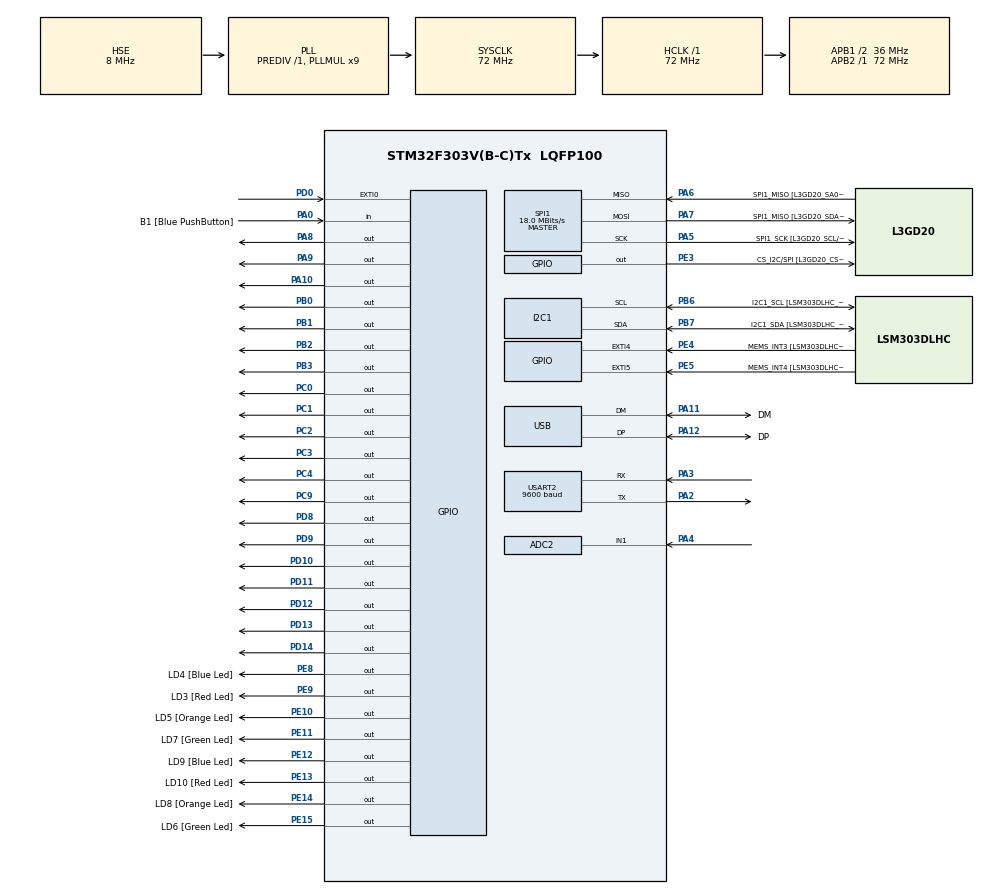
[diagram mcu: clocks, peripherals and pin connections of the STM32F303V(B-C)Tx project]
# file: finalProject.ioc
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ADC2.Channel-4\#ChannelRegularConversion=ADC_CHANNEL_1
ADC2.NbrOfConversionFlag=1
ADC2.Offset-4\#ChannelRegularConversion=0
ADC2.OffsetNumber-4\#ChannelRegularConversion=ADC_OFFSET_NONE
ADC2.Rank-4\#ChannelRegularConversion=1
ADC2.Resolution=ADC_RESOLUTION_6B
ADC2.SamplingTime-4\#ChannelRegularConversion=ADC_SAMPLETIME_601CYCLES_5
I2C1.Timing-I2C=0x2000090E
Mcu.Family=STM32F3
Mcu.Name=STM32F303V(B-C)Tx
Mcu.Package=LQFP100
NVIC.ADC1_2_IRQn=true\:3\:0\:true\:false\:true\:true
NVIC.EXTI0_IRQn=true\:1\:0\:true\:false\:true\:true
NVIC.PriorityGroup=NVIC_PRIORITYGROUP_2
NVIC.TIM2_IRQn=true\:2\:0\:true\:false\:true\:true
NVIC.TIM3_IRQn=true\:2\:0\:true\:false\:true\:true
NVIC.USART2_IRQn=true\:1\:0\:true\:false\:true\:true
PA0.GPIO_Label=B1 [Blue PushButton]
PA0.Signal=GPIO_Input
PA10.Signal=GPIO_Output
PA11.GPIO_Label=DM
PA11.Mode=Device
PA11.Signal=USB_DM
PA12.GPIO_Label=DP
PA12.Mode=Device
PA12.Signal=USB_DP
PA13.GPIO_Label=SWDIO
PA13.Mode=Serial_Wire
PA13.Signal=SYS_JTMS-SWDIO
PA14.GPIO_Label=SWCLK
PA14.Mode=Serial_Wire
PA14.Signal=SYS_JTCK-SWCLK
PA2.Mode=Asynchronous
PA2.Signal=USART2_TX
PA3.Mode=Asynchronous
PA3.Signal=USART2_RX
PA4.Mode=IN1-Single-Ended
PA4.Signal=ADC2_IN1
PA5.GPIO_Label=SPI1_SCK [L3GD20_SCL/SPC]
PA5.Mode=Full_Duplex_Master
PA5.Signal=SPI1_SCK
PA6.GPIO_Label=SPI1_MISO [L3GD20_SA0/SDO]
PA6.Mode=Full_Duplex_Master
PA6.Signal=SPI1_MISO
PA7.GPIO_Label=SPI1_MISO [L3GD20_SDA/SDI/SDO]
PA7.Mode=Full_Duplex_Master
PA7.Signal=SPI1_MOSI
PA8.Signal=GPIO_Output
PA9.Signal=GPIO_Output
PB0.Signal=GPIO_Output
PB1.Signal=GPIO_Output
PB2.Signal=GPIO_Output
PB3.Signal=GPIO_Output
PB6.GPIO_Label=I2C1_SCL [LSM303DLHC_SCL]
PB6.Mode=I2C
PB6.Signal=I2C1_SCL
PB7.GPIO_Label=I2C1_SDA [LSM303DLHC_SDA]
PB7.Mode=I2C
PB7.Signal=I2C1_SDA
PC0.Signal=GPIO_Output
PC1.Signal=GPIO_Output
PC14-OSC32_IN.GPIO_Label=OSC32_IN
PC14-OSC32_IN.Signal=RCC_OSC32_IN
PC15-OSC32_OUT.GPIO_Label=OSC32_OUT
PC15-OSC32_OUT.Signal=RCC_OSC32_OUT
PC2.Signal=GPIO_Output
PC3.Signal=GPIO_Output
PC4.Signal=GPIO_Output
PC9.Signal=GPIO_Output
PD0.GPIO_PuPd=GPIO_PULLDOWN
PD0.Signal=GPXTI0
PD10.Signal=GPIO_Output
PD11.Signal=GPIO_Output
PD12.Signal=GPIO_Output
PD13.Signal=GPIO_Output
PD14.Signal=GPIO_Output
PD8.Signal=GPIO_Output
PD9.Signal=GPIO_Output
PE10.GPIO_Label=LD5 [Orange Led]
PE10.Signal=GPIO_Output
PE11.GPIO_Label=LD7 [Green Led]
PE11.Signal=GPIO_Output
PE12.GPIO_Label=LD9 [Blue Led]
PE12.Signal=GPIO_Output
PE13.GPIO_Label=LD10 [Red Led]
PE13.Signal=GPIO_Output
PE14.GPIO_Label=LD8 [Orange Led]
PE14.Signal=GPIO_Output
PE15.GPIO_Label=LD6 [Green Led]
PE15.Signal=GPIO_Output
PE3.GPIO_Label=CS_I2C/SPI [L3GD20_CS_I2C/SPI]
PE3.Signal=GPIO_Output
PE4.GPIO_Label=MEMS_INT3 [LSM303DLHC_INT1]
PE4.GPIO_ModeDefaultEXTI=GPIO_MODE_EVT_RISING
PE4.Signal=GPXTI4
PE5.GPIO_Label=MEMS_INT4 [LSM303DLHC_INT2]
PE5.GPIO_ModeDefaultEXTI=GPIO_MODE_EVT_RISING
PE5.Signal=GPXTI5
PE8.GPIO_Label=LD4 [Blue Led]
PE8.Signal=GPIO_Output
PE9.GPIO_Label=LD3 [Red Led]
PE9.Signal=GPIO_Output
PF0-OSC_IN.GPIO_Label=OSC_IN
PF0-OSC_IN.Mode=HSE-External-Clock-Source
PF0-OSC_IN.Signal=RCC_OSC_IN
PF1-OSC_OUT.GPIO_Label=OSC_OUT
PF1-OSC_OUT.Signal=RCC_OSC_OUT
ProjectManager.HeapSize=0x200
ProjectManager.StackSize=0x400
ProjectManager.TargetToolchain=MDK-ARM V5
RCC.AHBFreq_Value=72000000
RCC.APB1CLKDivider=RCC_HCLK_DIV2
RCC.APB1Freq_Value=36000000
RCC.APB1TimFreq_Value=72000000
RCC.APB2Freq_Value=72000000
RCC.APB2TimFreq_Value=72000000
RCC.CortexFreq_Value=72000000
RCC.HCLKFreq_Value=72000000
RCC.HSE_VALUE=8000000
RCC.HSI_VALUE=8000000
RCC.LSE_VALUE=32768
RCC.PLLMUL=RCC_PLL_MUL9
RCC.PRESCALERUSB=RCC_USBCLKSOURCE_PLL_DIV1_5
RCC.SYSCLKFreq_VALUE=72000000
RCC.SYSCLKSourceVirtual=RCC_SYSCLKSOURCE_PLLCLK
RCC.USBFreq_Value=48000000
SPI1.BaudRatePrescaler=SPI_BAUDRATEPRESCALER_4
SPI1.BaudRatePrescaler-Full_Duplex_Master=SPI_BAUDRATEPRESCALER_2
SPI1.CalculateBaudRate=18.0 MBits/s
SPI1.CalculateBaudRate-Full_Duplex_Master=24.0 MBits/s
SPI1.Direction=SPI_DIRECTION_2LINES
SPI1.Mode=SPI_MODE_MASTER
SPI1.Mode-Full_Duplex_Master=SPI_MODE_MASTER
SPI1.VirtualType=VM_MASTER
TIM2.Period=1000
TIM2.Prescaler=7199
TIM3.Period=20
TIM3.Prescaler=7199
USART2.BaudRate=9600
USART2.VirtualMode-Asynchronous=VM_ASYNC
VP_TIM2_VS_ClockSourceINT.Mode=Internal
VP_TIM3_VS_ClockSourceINT.Mode=Internal
board=STM32F3DISCOVERY

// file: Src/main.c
/**
  ******************************************************************************
  * @file           : main.c
  * @brief          : Main program body
  ******************************************************************************
  ** This notice applies to any and all portions of this file
  * that are not between comment pairs USER CODE BEGIN and
  * USER CODE END. Other portions of this file, whether
  * inserted by the user or by software development tools
  * are owned by their respective copyright owners.
  *
  * COPYRIGHT(c) 2020 STMicroelectronics
  *
  * Redistribution and use in source and binary forms, with or without modification,
  * are permitted provided that the following conditions are met:
  *   1. Redistributions of source code must retain the above copyright notice,
  *      this list of conditions and the following disclaimer.
  *   2. Redistributions in binary form must reproduce the above copyright notice,
  *      this list of conditions and the following disclaimer in the documentation
  *      and/or other materials provided with the distribution.
  *   3. Neither the name of STMicroelectronics nor the names of its contributors
  *      may be used to endorse or promote products derived from this software
  *      without specific prior written permission.
  *
  * THIS SOFTWARE IS PROVIDED BY THE COPYRIGHT HOLDERS AND CONTRIBUTORS "AS IS"
  * AND ANY EXPRESS OR IMPLIED WARRANTIES, INCLUDING, BUT NOT LIMITED TO, THE
  * IMPLIED WARRANTIES OF MERCHANTABILITY AND FITNESS FOR A PARTICULAR PURPOSE ARE
  * DISCLAIMED. IN NO EVENT SHALL THE COPYRIGHT HOLDER OR CONTRIBUTORS BE LIABLE
  * FOR ANY DIRECT, INDIRECT, INCIDENTAL, SPECIAL, EXEMPLARY, OR CONSEQUENTIAL
  * DAMAGES (INCLUDING, BUT NOT LIMITED TO, PROCUREMENT OF SUBSTITUTE GOODS OR
  * SERVICES; LOSS OF USE, DATA, OR PROFITS; OR BUSINESS INTERRUPTION) HOWEVER
  * CAUSED AND ON ANY THEORY OF LIABILITY, WHETHER IN CONTRACT, STRICT LIABILITY,
  * OR TORT (INCLUDING NEGLIGENCE OR OTHERWISE) ARISING IN ANY WAY OUT OF THE USE
  * OF THIS SOFTWARE, EVEN IF ADVISED OF THE POSSIBILITY OF SUCH DAMAGE.
  *
  ******************************************************************************
  */
#include "main.h"
#include "stm32f3xx_hal.h"

/* USER CODE BEGIN Includes */
# include "LiquidCrystal.h"
#include <stdlib.h>
/* USER CODE END Includes */

ADC_HandleTypeDef hadc2;

I2C_HandleTypeDef hi2c1;

SPI_HandleTypeDef hspi1;

TIM_HandleTypeDef htim2;
TIM_HandleTypeDef htim3;

UART_HandleTypeDef huart2;

PCD_HandleTypeDef hpcd_USB_FS;

/* USER CODE BEGIN PV */
/* Private variables ---------------------------------------------------------*/
unsigned char data[1];
int map[8][20];
int length_snake = 3;

int move = 4 ;
int head_i = 0;
int head_j = 2;
int end_i = 0;
int end_j = 0;
int apple_i ;
int apple_j ;

typedef unsigned char byte;

byte snake_snake[8] ={
  0x1F,
  0x1F,
  0x1F,
  0x1F,
  0x1F,
  0x1F,
  0x1F,
  0x1F
};

byte _snake[8] ={
	0x00,
  0x00,
  0x00,
  0x00,
  0x1F,
  0x1F,
  0x1F,
  0x1F
};
byte snake_[8] ={
 0x1F,
  0x1F,
  0x1F,
  0x1F,
  0x00,
  0x00,
  0x00,
  0x00
};
byte snake_app[8] ={
0x1F,
  0x1F,
  0x1F,
  0x1F,
  0x0E,
  0x0E,
  0x04,
  0x0A
};
byte app_snake[8] ={
  0x0A,
  0x04,
  0x0E,
  0x0E,
  0x1F,
  0x1F,
  0x1F,
  0x1F
};
byte app_[8] ={
	0x0A,
  0x04,
  0x0E,
  0x0E,
  0x00,
  0x00,
  0x00,
  0x00
};
byte _app[8] ={
 0x00,
  0x00,
  0x00,
  0x00,
  0x0E,
  0x0E,
  0x04,
  0x0A
};
byte app_app[8] ={
  0x00,
  0x00,
  0x0E,
  0x0E,
  0x0E,
  0x0E,
  0x00,
  0x00
};

void start_game(){
	setCursor(0,0);
	print("start game");
	setCursor(0,1);
	print("load previous game");
}

/* USER CODE END PV */

void SystemClock_Config(void);
static void MX_GPIO_Init(void);
static void MX_I2C1_Init(void);
static void MX_SPI1_Init(void);
static void MX_USB_PCD_Init(void);
static void MX_TIM2_Init(void);
static void MX_USART2_UART_Init(void);
static void MX_ADC2_Init(void);
static void MX_TIM3_Init(void);

/* USER CODE BEGIN PFP */
/* Private function prototypes -----------------------------------------------*/

/* USER CODE END PFP */

int main(void)
{

  /* MCU Configuration----------------------------------------------------------*/

  /* Reset of all peripherals, Initializes the Flash interface and the Systick. */
  HAL_Init();

  /* Configure the system clock */
  SystemClock_Config();

  /* Initialize all configured peripherals */
  MX_GPIO_Init();
  MX_I2C1_Init();
  MX_SPI1_Init();
  MX_USB_PCD_Init();
  MX_TIM2_Init();
  MX_USART2_UART_Init();
  MX_ADC2_Init();
  MX_TIM3_Init();
  /* USER CODE BEGIN 2 */
	HAL_UART_Receive_IT(&huart2,data,sizeof(data));
	HAL_GPIO_WritePin(GPIOC,GPIO_PIN_9,GPIO_PIN_SET);
	HAL_GPIO_WritePin(GPIOA,GPIO_PIN_8,GPIO_PIN_SET);
	HAL_GPIO_WritePin(GPIOA,GPIO_PIN_9,GPIO_PIN_SET);
	HAL_GPIO_WritePin(GPIOA,GPIO_PIN_10,GPIO_PIN_SET);
	LiquidCrystal(GPIOD,GPIO_PIN_8,GPIO_PIN_9,GPIO_PIN_10,GPIO_PIN_11,GPIO_PIN_12,GPIO_PIN_13,GPIO_PIN_14);
	begin(20,4);

	createChar(0,snake_snake);
	createChar(1,_snake);
	createChar(2,snake_);
	createChar(3,snake_app);
	createChar(4,app_snake);
	createChar(5,app_);
	createChar(6,_app);
	createChar(7,app_app);

	start_game();

  /* USER CODE END 2 */

  /* Infinite loop */
  while (1)
  {

  }

}

void SystemClock_Config(void)
{

  RCC_OscInitTypeDef RCC_OscInitStruct;
  RCC_ClkInitTypeDef RCC_ClkInitStruct;
  RCC_PeriphCLKInitTypeDef PeriphClkInit;

    /**Initializes the CPU, AHB and APB busses clocks
    */
  RCC_OscInitStruct.OscillatorType = RCC_OSCILLATORTYPE_HSI|RCC_OSCILLATORTYPE_HSE;
  RCC_OscInitStruct.HSEState = RCC_HSE_BYPASS;
  RCC_OscInitStruct.HSEPredivValue = RCC_HSE_PREDIV_DIV1;
  RCC_OscInitStruct.HSIState = RCC_HSI_ON;
  RCC_OscInitStruct.HSICalibrationValue = 16;
  RCC_OscInitStruct.PLL.PLLState = RCC_PLL_ON;
  RCC_OscInitStruct.PLL.PLLSource = RCC_PLLSOURCE_HSE;
  RCC_OscInitStruct.PLL.PLLMUL = RCC_PLL_MUL9;
  if (HAL_RCC_OscConfig(&RCC_OscInitStruct) != HAL_OK)
  {
    _Error_Handler(__FILE__, __LINE__);
  }

    /**Initializes the CPU, AHB and APB busses clocks
    */
  RCC_ClkInitStruct.ClockType = RCC_CLOCKTYPE_HCLK|RCC_CLOCKTYPE_SYSCLK
                              |RCC_CLOCKTYPE_PCLK1|RCC_CLOCKTYPE_PCLK2;
  RCC_ClkInitStruct.SYSCLKSource = RCC_SYSCLKSOURCE_PLLCLK;
  RCC_ClkInitStruct.AHBCLKDivider = RCC_SYSCLK_DIV1;
  RCC_ClkInitStruct.APB1CLKDivider = RCC_HCLK_DIV2;
  RCC_ClkInitStruct.APB2CLKDivider = RCC_HCLK_DIV1;

  if (HAL_RCC_ClockConfig(&RCC_ClkInitStruct, FLASH_LATENCY_2) != HAL_OK)
  {
    _Error_Handler(__FILE__, __LINE__);
  }

  PeriphClkInit.PeriphClockSelection = RCC_PERIPHCLK_USB|RCC_PERIPHCLK_USART2
                              |RCC_PERIPHCLK_I2C1|RCC_PERIPHCLK_ADC12;
  PeriphClkInit.Usart2ClockSelection = RCC_USART2CLKSOURCE_PCLK1;
  PeriphClkInit.Adc12ClockSelection = RCC_ADC12PLLCLK_DIV1;
  PeriphClkInit.I2c1ClockSelection = RCC_I2C1CLKSOURCE_HSI;
  PeriphClkInit.USBClockSelection = RCC_USBCLKSOURCE_PLL_DIV1_5;
  if (HAL_RCCEx_PeriphCLKConfig(&PeriphClkInit) != HAL_OK)
  {
    _Error_Handler(__FILE__, __LINE__);
  }

    /**Configure the Systick interrupt time
    */
  HAL_SYSTICK_Config(HAL_RCC_GetHCLKFreq()/1000);

    /**Configure the Systick
    */
  HAL_SYSTICK_CLKSourceConfig(SYSTICK_CLKSOURCE_HCLK);

  /* SysTick_IRQn interrupt configuration */
  HAL_NVIC_SetPriority(SysTick_IRQn, 0, 0);
}

/* ADC2 init function */
static void MX_ADC2_Init(void)
{

  ADC_ChannelConfTypeDef sConfig;

    /**Common config
    */
  hadc2.Instance = ADC2;
  hadc2.Init.ClockPrescaler = ADC_CLOCK_ASYNC_DIV1;
  hadc2.Init.Resolution = ADC_RESOLUTION_6B;
  hadc2.Init.ScanConvMode = ADC_SCAN_DISABLE;
  hadc2.Init.ContinuousConvMode = DISABLE;
  hadc2.Init.DiscontinuousConvMode = DISABLE;
  hadc2.Init.ExternalTrigConvEdge = ADC_EXTERNALTRIGCONVEDGE_NONE;
  hadc2.Init.ExternalTrigConv = ADC_SOFTWARE_START;
  hadc2.Init.DataAlign = ADC_DATAALIGN_RIGHT;
  hadc2.Init.NbrOfConversion = 1;
  hadc2.Init.DMAContinuousRequests = DISABLE;
  hadc2.Init.EOCSelection = ADC_EOC_SINGLE_CONV;
  hadc2.Init.LowPowerAutoWait = DISABLE;
  hadc2.Init.Overrun = ADC_OVR_DATA_OVERWRITTEN;
  if (HAL_ADC_Init(&hadc2) != HAL_OK)
  {
    _Error_Handler(__FILE__, __LINE__);
  }

    /**Configure Regular Channel
    */
  sConfig.Channel = ADC_CHANNEL_1;
  sConfig.Rank = ADC_REGULAR_RANK_1;
  sConfig.SingleDiff = ADC_SINGLE_ENDED;
  sConfig.SamplingTime = ADC_SAMPLETIME_601CYCLES_5;
  sConfig.OffsetNumber = ADC_OFFSET_NONE;
  sConfig.Offset = 0;
  if (HAL_ADC_ConfigChannel(&hadc2, &sConfig) != HAL_OK)
  {
    _Error_Handler(__FILE__, __LINE__);
  }

}

/* I2C1 init function */
static void MX_I2C1_Init(void)
{

  hi2c1.Instance = I2C1;
  hi2c1.Init.Timing = 0x2000090E;
  hi2c1.Init.OwnAddress1 = 0;
  hi2c1.Init.AddressingMode = I2C_ADDRESSINGMODE_7BIT;
  hi2c1.Init.DualAddressMode = I2C_DUALADDRESS_DISABLE;
  hi2c1.Init.OwnAddress2 = 0;
  hi2c1.Init.OwnAddress2Masks = I2C_OA2_NOMASK;
  hi2c1.Init.GeneralCallMode = I2C_GENERALCALL_DISABLE;
  hi2c1.Init.NoStretchMode = I2C_NOSTRETCH_DISABLE;
  if (HAL_I2C_Init(&hi2c1) != HAL_OK)
  {
    _Error_Handler(__FILE__, __LINE__);
  }

    /**Configure Analogue filter
    */
  if (HAL_I2CEx_ConfigAnalogFilter(&hi2c1, I2C_ANALOGFILTER_ENABLE) != HAL_OK)
  {
    _Error_Handler(__FILE__, __LINE__);
  }

    /**Configure Digital filter
    */
  if (HAL_I2CEx_ConfigDigitalFilter(&hi2c1, 0) != HAL_OK)
  {
    _Error_Handler(__FILE__, __LINE__);
  }

}

/* SPI1 init function */
static void MX_SPI1_Init(void)
{

  /* SPI1 parameter configuration*/
  hspi1.Instance = SPI1;
  hspi1.Init.Mode = SPI_MODE_MASTER;
  hspi1.Init.Direction = SPI_DIRECTION_2LINES;
  hspi1.Init.DataSize = SPI_DATASIZE_4BIT;
  hspi1.Init.CLKPolarity = SPI_POLARITY_LOW;
  hspi1.Init.CLKPhase = SPI_PHASE_1EDGE;
  hspi1.Init.NSS = SPI_NSS_SOFT;
  hspi1.Init.BaudRatePrescaler = SPI_BAUDRATEPRESCALER_4;
  hspi1.Init.FirstBit = SPI_FIRSTBIT_MSB;
  hspi1.Init.TIMode = SPI_TIMODE_DISABLE;
  hspi1.Init.CRCCalculation = SPI_CRCCALCULATION_DISABLE;
  hspi1.Init.CRCPolynomial = 7;
  hspi1.Init.CRCLength = SPI_CRC_LENGTH_DATASIZE;
  hspi1.Init.NSSPMode = SPI_NSS_PULSE_ENABLE;
  if (HAL_SPI_Init(&hspi1) != HAL_OK)
  {
    _Error_Handler(__FILE__, __LINE__);
  }

}

/* TIM2 init function */
static void MX_TIM2_Init(void)
{

  TIM_ClockConfigTypeDef sClockSourceConfig;
  TIM_MasterConfigTypeDef sMasterConfig;

  htim2.Instance = TIM2;
  htim2.Init.Prescaler = 7199;
  htim2.Init.CounterMode = TIM_COUNTERMODE_UP;
  htim2.Init.Period = 1000;
  htim2.Init.ClockDivision = TIM_CLOCKDIVISION_DIV1;
  htim2.Init.AutoReloadPreload = TIM_AUTORELOAD_PRELOAD_DISABLE;
  if (HAL_TIM_Base_Init(&htim2) != HAL_OK)
  {
    _Error_Handler(__FILE__, __LINE__);
  }

  sClockSourceConfig.ClockSource = TIM_CLOCKSOURCE_INTERNAL;
  if (HAL_TIM_ConfigClockSource(&htim2, &sClockSourceConfig) != HAL_OK)
  {
    _Error_Handler(__FILE__, __LINE__);
  }

  sMasterConfig.MasterOutputTrigger = TIM_TRGO_RESET;
  sMasterConfig.MasterSlaveMode = TIM_MASTERSLAVEMODE_DISABLE;
  if (HAL_TIMEx_MasterConfigSynchronization(&htim2, &sMasterConfig) != HAL_OK)
  {
    _Error_Handler(__FILE__, __LINE__);
  }

}

/* TIM3 init function */
static void MX_TIM3_Init(void)
{

  TIM_ClockConfigTypeDef sClockSourceConfig;
  TIM_MasterConfigTypeDef sMasterConfig;

  htim3.Instance = TIM3;
  htim3.Init.Prescaler = 7199;
  htim3.Init.CounterMode = TIM_COUNTERMODE_UP;
  htim3.Init.Period = 20;
  htim3.Init.ClockDivision = TIM_CLOCKDIVISION_DIV1;
  htim3.Init.AutoReloadPreload = TIM_AUTORELOAD_PRELOAD_DISABLE;
  if (HAL_TIM_Base_Init(&htim3) != HAL_OK)
  {
    _Error_Handler(__FILE__, __LINE__);
  }

  sClockSourceConfig.ClockSource = TIM_CLOCKSOURCE_INTERNAL;
  if (HAL_TIM_ConfigClockSource(&htim3, &sClockSourceConfig) != HAL_OK)
  {
    _Error_Handler(__FILE__, __LINE__);
  }

  sMasterConfig.MasterOutputTrigger = TIM_TRGO_RESET;
  sMasterConfig.MasterSlaveMode = TIM_MASTERSLAVEMODE_DISABLE;
  if (HAL_TIMEx_MasterConfigSynchronization(&htim3, &sMasterConfig) != HAL_OK)
  {
    _Error_Handler(__FILE__, __LINE__);
  }

}

/* USART2 init function */
static void MX_USART2_UART_Init(void)
{

  huart2.Instance = USART2;
  huart2.Init.BaudRate = 9600;
  huart2.Init.WordLength = UART_WORDLENGTH_8B;
  huart2.Init.StopBits = UART_STOPBITS_1;
  huart2.Init.Parity = UART_PARITY_NONE;
  huart2.Init.Mode = UART_MODE_TX_RX;
  huart2.Init.HwFlowCtl = UART_HWCONTROL_NONE;
  huart2.Init.OverSampling = UART_OVERSAMPLING_16;
  huart2.Init.OneBitSampling = UART_ONE_BIT_SAMPLE_DISABLE;
  huart2.AdvancedInit.AdvFeatureInit = UART_ADVFEATURE_NO_INIT;
  if (HAL_UART_Init(&huart2) != HAL_OK)
  {
    _Error_Handler(__FILE__, __LINE__);
  }

}

/* USB init function */
static void MX_USB_PCD_Init(void)
{

  hpcd_USB_FS.Instance = USB;
  hpcd_USB_FS.Init.dev_endpoints = 8;
  hpcd_USB_FS.Init.speed = PCD_SPEED_FULL;
  hpcd_USB_FS.Init.ep0_mps = DEP0CTL_MPS_64;
  hpcd_USB_FS.Init.phy_itface = PCD_PHY_EMBEDDED;
  hpcd_USB_FS.Init.low_power_enable = DISABLE;
  hpcd_USB_FS.Init.battery_charging_enable = DISABLE;
  if (HAL_PCD_Init(&hpcd_USB_FS) != HAL_OK)
  {
    _Error_Handler(__FILE__, __LINE__);
  }

}

/** Configure pins as
        * Analog
        * Input
        * Output
        * EVENT_OUT
        * EXTI
        * Free pins are configured automatically as Analog (this feature is enabled through
        * the Code Generation settings)
*/
static void MX_GPIO_Init(void)
{

  GPIO_InitTypeDef GPIO_InitStruct;

  /* GPIO Ports Clock Enable */
  __HAL_RCC_GPIOE_CLK_ENABLE();
  __HAL_RCC_GPIOC_CLK_ENABLE();
  __HAL_RCC_GPIOF_CLK_ENABLE();
  __HAL_RCC_GPIOA_CLK_ENABLE();
  __HAL_RCC_GPIOB_CLK_ENABLE();
  __HAL_RCC_GPIOD_CLK_ENABLE();

  /*Configure GPIO pin Output Level */
  HAL_GPIO_WritePin(GPIOE, CS_I2C_SPI_Pin|LD4_Pin|LD3_Pin|LD5_Pin
                          |LD7_Pin|LD9_Pin|LD10_Pin|LD8_Pin
                          |LD6_Pin, GPIO_PIN_RESET);

  /*Configure GPIO pin Output Level */
  HAL_GPIO_WritePin(GPIOC, GPIO_PIN_0|GPIO_PIN_1|GPIO_PIN_2|GPIO_PIN_3
                          |GPIO_PIN_4|GPIO_PIN_9, GPIO_PIN_RESET);

  /*Configure GPIO pin Output Level */
  HAL_GPIO_WritePin(GPIOB, GPIO_PIN_0|GPIO_PIN_1|GPIO_PIN_2|GPIO_PIN_3, GPIO_PIN_RESET);

  /*Configure GPIO pin Output Level */
  HAL_GPIO_WritePin(GPIOD, GPIO_PIN_8|GPIO_PIN_9|GPIO_PIN_10|GPIO_PIN_11
                          |GPIO_PIN_12|GPIO_PIN_13|GPIO_PIN_14, GPIO_PIN_RESET);

  /*Configure GPIO pin Output Level */
  HAL_GPIO_WritePin(GPIOA, GPIO_PIN_8|GPIO_PIN_9|GPIO_PIN_10, GPIO_PIN_RESET);

  /*Configure GPIO pins : PE2 PE6 PE7 PE0
                           PE1 */
  GPIO_InitStruct.Pin = GPIO_PIN_2|GPIO_PIN_6|GPIO_PIN_7|GPIO_PIN_0
                          |GPIO_PIN_1;
  GPIO_InitStruct.Mode = GPIO_MODE_ANALOG;
  GPIO_InitStruct.Pull = GPIO_NOPULL;
  HAL_GPIO_Init(GPIOE, &GPIO_InitStruct);

  /*Configure GPIO pins : CS_I2C_SPI_Pin LD4_Pin LD3_Pin LD5_Pin
                           LD7_Pin LD9_Pin LD10_Pin LD8_Pin
                           LD6_Pin */
  GPIO_InitStruct.Pin = CS_I2C_SPI_Pin|LD4_Pin|LD3_Pin|LD5_Pin
                          |LD7_Pin|LD9_Pin|LD10_Pin|LD8_Pin
                          |LD6_Pin;
  GPIO_InitStruct.Mode = GPIO_MODE_OUTPUT_PP;
  GPIO_InitStruct.Pull = GPIO_NOPULL;
  GPIO_InitStruct.Speed = GPIO_SPEED_FREQ_LOW;
  HAL_GPIO_Init(GPIOE, &GPIO_InitStruct);

  /*Configure GPIO pins : MEMS_INT3_Pin MEMS_INT4_Pin */
  GPIO_InitStruct.Pin = MEMS_INT3_Pin|MEMS_INT4_Pin;
  GPIO_InitStruct.Mode = GPIO_MODE_EVT_RISING;
  GPIO_InitStruct.Pull = GPIO_NOPULL;
  HAL_GPIO_Init(GPIOE, &GPIO_InitStruct);

  /*Configure GPIO pins : PC13 PC5 PC6 PC7
                           PC8 PC10 PC11 PC12 */
  GPIO_InitStruct.Pin = GPIO_PIN_13|GPIO_PIN_5|GPIO_PIN_6|GPIO_PIN_7
                          |GPIO_PIN_8|GPIO_PIN_10|GPIO_PIN_11|GPIO_PIN_12;
  GPIO_InitStruct.Mode = GPIO_MODE_ANALOG;
  GPIO_InitStruct.Pull = GPIO_NOPULL;
  HAL_GPIO_Init(GPIOC, &GPIO_InitStruct);

  /*Configure GPIO pins : PF9 PF10 PF2 PF4
                           PF6 */
  GPIO_InitStruct.Pin = GPIO_PIN_9|GPIO_PIN_10|GPIO_PIN_2|GPIO_PIN_4
                          |GPIO_PIN_6;
  GPIO_InitStruct.Mode = GPIO_MODE_ANALOG;
  GPIO_InitStruct.Pull = GPIO_NOPULL;
  HAL_GPIO_Init(GPIOF, &GPIO_InitStruct);

  /*Configure GPIO pins : PC0 PC1 PC2 PC3
                           PC4 PC9 */
  GPIO_InitStruct.Pin = GPIO_PIN_0|GPIO_PIN_1|GPIO_PIN_2|GPIO_PIN_3
                          |GPIO_PIN_4|GPIO_PIN_9;
  GPIO_InitStruct.Mode = GPIO_MODE_OUTPUT_PP;
  GPIO_InitStruct.Pull = GPIO_NOPULL;
  GPIO_InitStruct.Speed = GPIO_SPEED_FREQ_LOW;
  HAL_GPIO_Init(GPIOC, &GPIO_InitStruct);

  /*Configure GPIO pin : B1_Pin */
  GPIO_InitStruct.Pin = B1_Pin;
  GPIO_InitStruct.Mode = GPIO_MODE_INPUT;
  GPIO_InitStruct.Pull = GPIO_NOPULL;
  HAL_GPIO_Init(B1_GPIO_Port, &GPIO_InitStruct);

  /*Configure GPIO pins : PA1 PA15 */
  GPIO_InitStruct.Pin = GPIO_PIN_1|GPIO_PIN_15;
  GPIO_InitStruct.Mode = GPIO_MODE_ANALOG;
  GPIO_InitStruct.Pull = GPIO_NOPULL;
  HAL_GPIO_Init(GPIOA, &GPIO_InitStruct);

  /*Configure GPIO pins : PB0 PB1 PB2 PB3 */
  GPIO_InitStruct.Pin = GPIO_PIN_0|GPIO_PIN_1|GPIO_PIN_2|GPIO_PIN_3;
  GPIO_InitStruct.Mode = GPIO_MODE_OUTPUT_PP;
  GPIO_InitStruct.Pull = GPIO_NOPULL;
  GPIO_InitStruct.Speed = GPIO_SPEED_FREQ_LOW;
  HAL_GPIO_Init(GPIOB, &GPIO_InitStruct);

  /*Configure GPIO pins : PB10 PB11 PB12 PB13
                           PB14 PB15 PB4 PB5
                           PB8 PB9 */
  GPIO_InitStruct.Pin = GPIO_PIN_10|GPIO_PIN_11|GPIO_PIN_12|GPIO_PIN_13
                          |GPIO_PIN_14|GPIO_PIN_15|GPIO_PIN_4|GPIO_PIN_5
                          |GPIO_PIN_8|GPIO_PIN_9;
  GPIO_InitStruct.Mode = GPIO_MODE_ANALOG;
  GPIO_InitStruct.Pull = GPIO_NOPULL;
  HAL_GPIO_Init(GPIOB, &GPIO_InitStruct);

  /*Configure GPIO pins : PD8 PD9 PD10 PD11
                           PD12 PD13 PD14 */
  GPIO_InitStruct.Pin = GPIO_PIN_8|GPIO_PIN_9|GPIO_PIN_10|GPIO_PIN_11
                          |GPIO_PIN_12|GPIO_PIN_13|GPIO_PIN_14;
  GPIO_InitStruct.Mode = GPIO_MODE_OUTPUT_PP;
  GPIO_InitStruct.Pull = GPIO_NOPULL;
  GPIO_InitStruct.Speed = GPIO_SPEED_FREQ_LOW;
  HAL_GPIO_Init(GPIOD, &GPIO_InitStruct);

  /*Configure GPIO pins : PD15 PD1 PD2 PD3
                           PD4 PD5 PD6 PD7 */
  GPIO_InitStruct.Pin = GPIO_PIN_15|GPIO_PIN_1|GPIO_PIN_2|GPIO_PIN_3
                          |GPIO_PIN_4|GPIO_PIN_5|GPIO_PIN_6|GPIO_PIN_7;
  GPIO_InitStruct.Mode = GPIO_MODE_ANALOG;
  GPIO_InitStruct.Pull = GPIO_NOPULL;
  HAL_GPIO_Init(GPIOD, &GPIO_InitStruct);

  /*Configure GPIO pins : PA8 PA9 PA10 */
  GPIO_InitStruct.Pin = GPIO_PIN_8|GPIO_PIN_9|GPIO_PIN_10;
  GPIO_InitStruct.Mode = GPIO_MODE_OUTPUT_PP;
  GPIO_InitStruct.Pull = GPIO_NOPULL;
  GPIO_InitStruct.Speed = GPIO_SPEED_FREQ_LOW;
  HAL_GPIO_Init(GPIOA, &GPIO_InitStruct);

  /*Configure GPIO pin : PD0 */
  GPIO_InitStruct.Pin = GPIO_PIN_0;
  GPIO_InitStruct.Mode = GPIO_MODE_IT_RISING;
  GPIO_InitStruct.Pull = GPIO_PULLDOWN;
  HAL_GPIO_Init(GPIOD, &GPIO_InitStruct);

  /* EXTI interrupt init*/
  HAL_NVIC_SetPriority(EXTI0_IRQn, 1, 0);
  HAL_NVIC_EnableIRQ(EXTI0_IRQn);

}

void _Error_Handler(char *file, int line)
{
  while(1)
  {
  }
}

/************************ (C) COPYRIGHT STMicroelectronics *****END OF FILE****/
